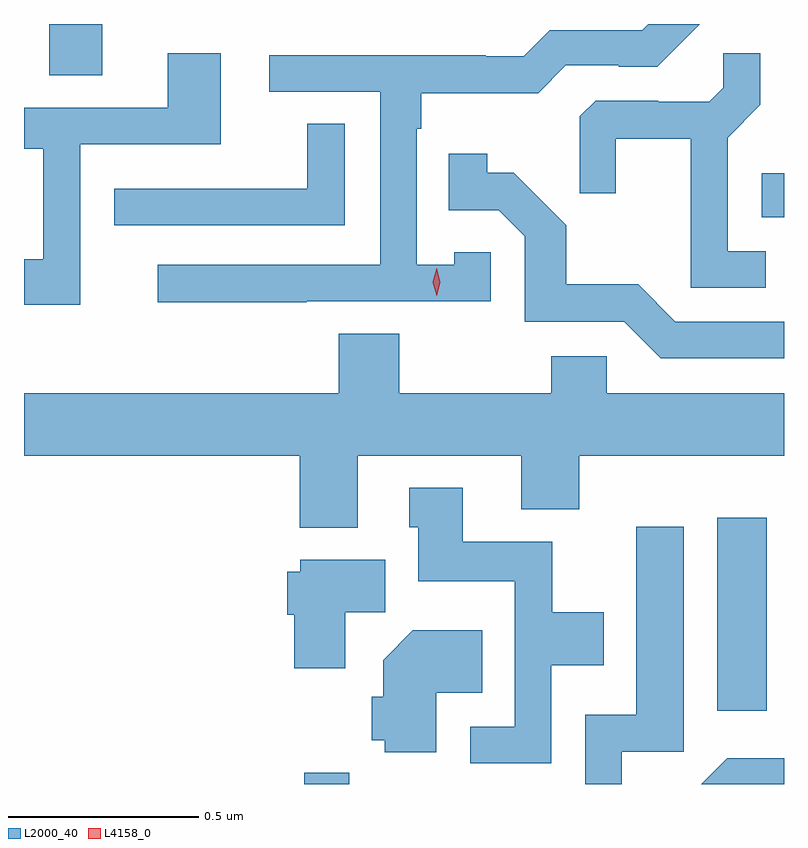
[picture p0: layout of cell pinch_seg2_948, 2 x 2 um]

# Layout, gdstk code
import gdstk
lib = gdstk.Library(unit=1e-6, precision=1e-09)
def R(c, l, rs):  # rectangles x0, y0, x1, y1
    for r in rs: c.add(gdstk.rectangle(r[:2], r[2:], *l))
def P(c, l, *ps):  # polygons
    for p in ps: c.add(gdstk.Polygon(p, *l))
L2000_40 = (2000, 40)
L4158_0 = (4158, 0)

pinch_seg2_948 = lib.new_cell('pinch_seg2_948')
R(pinch_seg2_948, L2000_40, [(594.28,656.096,594.399,656.125), (595.367,656.289,595.498,656.797), (595.484,657.587,595.543,657.703), (593.609,657.961,593.749,658.096)])
P(pinch_seg2_948, L2000_40, [(594.287,657.366),(594.771,657.366),(594.771,657.495),(594.675,657.495),(594.675,657.463),(594.576,657.463),(594.576,657.821),(594.589,657.821),(594.589,657.914),(594.896,657.914),(594.969,657.987),(595.108,657.987),(595.108,657.984),(595.209,657.984),(595.321,658.096),(595.186,658.096),(595.17,658.08),(594.927,658.08),(594.858,658.011),(594.758,658.011),(594.758,658.014),(594.189,658.014),(594.189,657.918),(594.48,657.918),(594.48,657.462),(593.895,657.462),(593.895,657.364),(594.287,657.364)],
  [(595.495,657.498),(595.395,657.498),(595.395,657.797),(595.481,657.883),(595.481,658.019),(595.383,658.019),(595.383,657.928),(595.346,657.891),(595.212,657.891),(595.212,657.894),(595.047,657.894),(595.006,657.853),(595.006,657.651),(595.1,657.651),(595.1,657.794),(595.298,657.794),(595.298,657.402),(595.495,657.402)],
  [(593.691,657.78),(594.061,657.78),(594.061,658.019),(593.921,658.019),(593.921,657.876),(593.543,657.876),(593.543,657.768),(593.594,657.768),(593.594,657.477),(593.543,657.477),(593.543,657.357),(593.691,657.357)],
  [(594.387,657.833),(594.289,657.833),(594.289,657.663),(593.893,657.663),(593.893,657.662),(593.781,657.662),(593.781,657.567),(594.387,657.567)],
  [(595.543,657.312),(595.257,657.312),(595.159,657.411),(594.97,657.411),(594.97,657.566),(594.832,657.704),(594.762,657.704),(594.762,657.754),(594.661,657.754),(594.661,657.606),(594.792,657.606),(594.861,657.537),(594.861,657.312),(595.122,657.312),(595.218,657.216),(595.543,657.216)],
  [(594.421,656.96),(594.851,656.96),(594.851,656.819),(595.004,656.819),(595.004,656.96),(595.543,656.96),(595.543,657.124),(595.077,657.124),(595.077,657.222),(594.931,657.222),(594.931,657.124),(594.531,657.124),(594.531,657.281),(594.371,657.281),(594.371,657.124),(593.543,657.124),(593.543,656.96),(594.269,656.96),(594.269,656.771),(594.421,656.771)],
  [(594.93,656.408),(595.069,656.408),(595.069,656.548),(594.933,656.548),(594.933,656.734),(594.697,656.734),(594.697,656.875),(594.557,656.875),(594.557,656.772),(594.581,656.772),(594.581,656.63),(594.834,656.63),(594.834,656.247),(594.717,656.247),(594.717,656.151),(594.93,656.151)],
  [(595.116,656.181),(595.279,656.181),(595.279,656.773),(595.154,656.773),(595.154,656.278),(595.02,656.278),(595.02,656.096),(595.116,656.096)],
  [(594.388,656.548),(594.493,656.548),(594.493,656.686),(594.27,656.686),(594.27,656.655),(594.236,656.655),(594.236,656.541),(594.254,656.541),(594.254,656.4),(594.388,656.4)],
  [(594.628,656.336),(594.749,656.336),(594.749,656.5),(594.566,656.5),(594.488,656.422),(594.488,656.325),(594.458,656.325),(594.458,656.211),(594.492,656.211),(594.492,656.179),(594.628,656.179)],
  [(595.543,656.164),(595.393,656.164),(595.325,656.096),(595.543,656.096)])
P(pinch_seg2_948, L4158_0, [(594.629,657.381),(594.629,657.381),(594.619,657.417),(594.629,657.453),(594.629,657.453),(594.629,657.453),(594.639,657.417),(594.629,657.381)])

lib.write_gds('pinch_seg2_948.gds')
